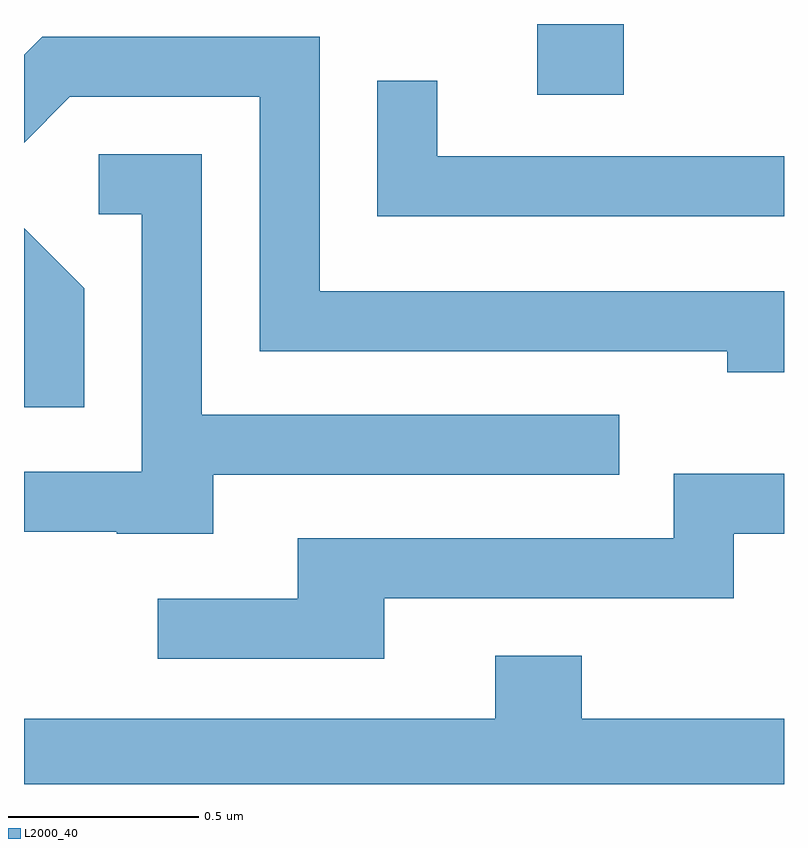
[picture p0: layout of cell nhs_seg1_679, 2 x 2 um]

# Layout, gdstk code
import gdstk
lib = gdstk.Library(unit=1e-6, precision=1e-09)
def R(c, l, rs):  # rectangles x0, y0, x1, y1
    for r in rs: c.add(gdstk.rectangle(r[:2], r[2:], *l))
def P(c, l, *ps):  # polygons
    for p in ps: c.add(gdstk.Polygon(p, *l))
L2000_40 = (2000, 40)

nhs_seg1_679 = lib.new_cell('nhs_seg1_679')
R(nhs_seg1_679, L2000_40, [(190.961,972.526,191.189,972.712)])
P(nhs_seg1_679, L2000_40, [(191.611,972.009),(190.389,972.009),(190.389,972.679),(189.659,972.679),(189.611,972.631),(189.611,972.4),(189.732,972.521),(190.231,972.521),(190.231,971.851),(191.461,971.851),(191.461,971.796),(191.611,971.796)],
  [(191.611,972.364),(190.699,972.364),(190.699,972.563),(190.541,972.563),(190.541,972.206),(191.611,972.206)],
  [(190.109,971.526),(191.178,971.526),(191.178,971.684),(190.079,971.684),(190.079,972.369),(189.808,972.369),(189.808,972.211),(189.921,972.211),(189.921,971.534),(189.611,971.534),(189.611,971.376),(189.855,971.376),(189.855,971.371),(190.109,971.371)],
  [(189.769,972.017),(189.611,972.175),(189.611,971.703),(189.769,971.703)],
  [(190.559,971.201),(191.479,971.201),(191.479,971.371),(191.611,971.371),(191.611,971.529),(191.321,971.529),(191.321,971.359),(190.331,971.359),(190.331,971.199),(189.963,971.199),(189.963,971.041),(190.559,971.041)],
  [(191.611,970.884),(191.079,970.884),(191.079,971.049),(190.851,971.049),(190.851,970.884),(189.611,970.884),(189.611,970.712),(191.611,970.712)])

lib.write_gds('nhs_seg1_679.gds')
